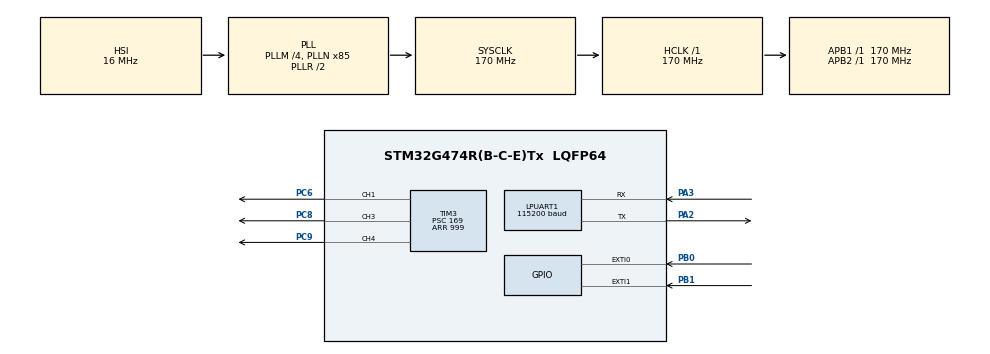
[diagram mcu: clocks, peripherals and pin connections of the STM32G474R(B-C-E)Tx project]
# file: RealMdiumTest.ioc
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LPUART1.BaudRate=115200
Mcu.Family=STM32G4
Mcu.Name=STM32G474R(B-C-E)Tx
Mcu.Package=LQFP64
NVIC.EXTI0_IRQn=true\:0\:0\:false\:false\:true\:true\:true\:true
NVIC.EXTI1_IRQn=true\:0\:0\:false\:false\:true\:true\:true\:true
NVIC.LPUART1_IRQn=true\:0\:0\:false\:false\:true\:true\:true\:true
NVIC.PriorityGroup=NVIC_PRIORITYGROUP_4
PA13.GPIO_Label=T_SWDIO
PA13.Signal=SYS_JTMS-SWDIO
PA14.GPIO_Label=T_SWCLK
PA14.Signal=SYS_JTCK-SWCLK
PA2.Mode=Asynchronous
PA2.Signal=LPUART1_TX
PA3.Mode=Asynchronous
PA3.Signal=LPUART1_RX
PB0.GPIO_PuPd=GPIO_PULLUP
PB0.Signal=GPXTI0
PB1.GPIO_PuPd=GPIO_PULLUP
PB1.Signal=GPXTI1
PB3.GPIO_Label=T_SWO
PB3.Signal=SYS_JTDO-SWO
PC14-OSC32_IN.GPIO_Label=RCC_OSC32_IN
PC14-OSC32_IN.Signal=RCC_OSC32_IN
PC15-OSC32_OUT.GPIO_Label=RCC_OSC32_OUT
PC15-OSC32_OUT.Signal=RCC_OSC32_OUT
PC6.Signal=S_TIM3_CH1
PC8.Signal=S_TIM3_CH3
PC9.Signal=S_TIM3_CH4
PF0-OSC_IN.GPIO_Label=RCC_OSC_IN
PF0-OSC_IN.Signal=RCC_OSC_IN
PF1-OSC_OUT.GPIO_Label=RCC_OSC_OUT
PF1-OSC_OUT.Signal=RCC_OSC_OUT
ProjectManager.HeapSize=0x200
ProjectManager.StackSize=0x400
ProjectManager.TargetToolchain=STM32CubeIDE
RCC.ADC12Freq_Value=170000000
RCC.ADC345Freq_Value=170000000
RCC.AHBFreq_Value=170000000
RCC.APB1Freq_Value=170000000
RCC.APB1TimFreq_Value=170000000
RCC.APB2Freq_Value=170000000
RCC.APB2TimFreq_Value=170000000
RCC.CortexFreq_Value=170000000
RCC.EXTERNAL_CLOCK_VALUE=12288000
RCC.HCLKFreq_Value=170000000
RCC.HSE_VALUE=24000000
RCC.HSI48_VALUE=48000000
RCC.HSI_VALUE=16000000
RCC.LSE_VALUE=32768
RCC.PLLM=RCC_PLLM_DIV4
RCC.PLLN=85
RCC.RTCClockSelection=RCC_RTCCLKSOURCE_LSE
RCC.SYSCLKFreq_VALUE=170000000
RCC.SYSCLKSource=RCC_SYSCLKSOURCE_PLLCLK
RCC.USBFreq_Value=170000000
RCC.VCOOutputFreq_Value=340000000
SH.S_TIM3_CH1.0=TIM3_CH1,PWM Generation1 CH1
SH.S_TIM3_CH3.0=TIM3_CH3,PWM Generation3 CH3
SH.S_TIM3_CH4.0=TIM3_CH4,PWM Generation4 CH4
TIM3.Channel-PWM\ Generation1\ CH1=TIM_CHANNEL_1
TIM3.Channel-PWM\ Generation3\ CH3=TIM_CHANNEL_3
TIM3.Channel-PWM\ Generation4\ CH4=TIM_CHANNEL_4
TIM3.PeriodNoDither=999
TIM3.Prescaler=169
VP_SYS_VS_DBSignals.Mode=DisableDeadBatterySignals
VP_TIM3_VS_ClockSourceINT.Mode=Internal
board=NUCLEO-G474RE

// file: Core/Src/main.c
/* USER CODE BEGIN Header */
/**
  ******************************************************************************
  * @file           : main.c
  * @brief          : TypeRush STM32G474RE Main Program
  ******************************************************************************
  * Copyright (c) 2026 STMicroelectronics.
  * All rights reserved.
  ******************************************************************************
  */
/* USER CODE END Header */

#include "main.h"

/* USER CODE BEGIN Includes */
#include <string.h>
/* USER CODE END Includes */

/* USER CODE BEGIN PD */

/* TIM3: PSC=169, ARR=999, PWM=1kHz (170MHz clock) */
#define TR_PWM_MAX          999
#define TR_BREATH_MS        10
#define TR_BREATH_STEP      10
#define TR_FLASH_HALF_MS   80
#define TR_DEBOUNCE_MS      35
#define TR_UART_LINE_MAX   48
#define TR_UART_QUIET_MS    5

/* USER CODE END PD */

UART_HandleTypeDef hlpuart1;
TIM_HandleTypeDef htim3;

/* USER CODE BEGIN PV */

/* 0 = Idle, 1 = Game running */
static uint8_t tr_running = 0;

/* 0 = Green, 1 = Yellow, 2 = Red */
static uint8_t tr_color = 0;

/* PWM breathing */
static uint16_t tr_brightness = 0;
static uint8_t tr_brightness_up = 1;
static uint32_t tr_breath_tick = 0;

/* Correct answer flash */
static uint8_t tr_flash_active = 0;
static uint8_t tr_flash_color = 0;
static uint32_t tr_flash_tick = 0;

/* START and STOP debounce */
static uint8_t tr_start_raw = 0;
static uint8_t tr_start_stable = 0;
static uint8_t tr_stop_raw = 0;
static uint8_t tr_stop_stable = 0;
static uint32_t tr_start_tick = 0;
static uint32_t tr_stop_tick = 0;

/* UART command buffer */
static char tr_uart_line[TR_UART_LINE_MAX];
static uint8_t tr_uart_length = 0;
static uint8_t tr_uart_discard = 0;
static uint32_t tr_uart_last_rx = 0;
static const char *tr_uart_reply = NULL;

/* USER CODE END PV */

void SystemClock_Config(void);
static void MX_GPIO_Init(void);
static void MX_LPUART1_UART_Init(void);
static void MX_TIM3_Init(void);

/* USER CODE BEGIN PFP */
static void TR_SetPWM(uint16_t red, uint16_t yellow, uint16_t green);
static void TR_UpdateLED(uint32_t now);
static void TR_CheckButtons(uint32_t now);
static void TR_ReadUART(uint32_t now);
static void TR_HandleCommand(const char *cmd, uint32_t now);
static void TR_SendReply(uint32_t now);
/* USER CODE END PFP */

/* USER CODE BEGIN 0 */

/* Set the brightness of the three LEDs */
static void TR_SetPWM(uint16_t red, uint16_t yellow, uint16_t green)
{
  if (red > TR_PWM_MAX)
    red = TR_PWM_MAX;

  if (yellow > TR_PWM_MAX)
    yellow = TR_PWM_MAX;

  if (green > TR_PWM_MAX)
    green = TR_PWM_MAX;

  /* PC6 = Red */
  __HAL_TIM_SET_COMPARE(&htim3, TIM_CHANNEL_1, red);

  /* PC9 = Yellow */
  __HAL_TIM_SET_COMPARE(&htim3, TIM_CHANNEL_4, yellow);

  /* PC8 = Green */
  __HAL_TIM_SET_COMPARE(&htim3, TIM_CHANNEL_3, green);
}

/* Update LED breathing and correct-answer flashing */
static void TR_UpdateLED(uint32_t now)
{
  /* Update brightness every 10 ms */
  if ((uint32_t)(now - tr_breath_tick) >= TR_BREATH_MS)
  {
    tr_breath_tick = now;

    if (tr_brightness_up != 0)
    {
      if (tr_brightness + TR_BREATH_STEP >= TR_PWM_MAX)
      {
        tr_brightness = TR_PWM_MAX;
        tr_brightness_up = 0;
      }
      else
      {
        tr_brightness += TR_BREATH_STEP;
      }
    }
    else
    {
      if (tr_brightness <= TR_BREATH_STEP)
      {
        tr_brightness = 0;
        tr_brightness_up = 1;
      }
      else
      {
        tr_brightness -= TR_BREATH_STEP;
      }
    }
  }

  /* Correct answer: flash twice */
  if (tr_flash_active != 0)
  {
    uint32_t elapsed = (uint32_t)(now - tr_flash_tick);

    if (elapsed < 4 * TR_FLASH_HALF_MS)
    {
      uint16_t value =
          ((elapsed / TR_FLASH_HALF_MS) % 2 == 0)
          ? TR_PWM_MAX : 0;

      TR_SetPWM(
          (tr_flash_color == 2) ? value : 0,
          (tr_flash_color == 1) ? value : 0,
          (tr_flash_color == 0) ? value : 0
      );

      return;
    }

    tr_flash_active = 0;
  }

  /* Idle: all three LEDs breathe */
  if (tr_running == 0)
  {
    TR_SetPWM(
        tr_brightness,
        tr_brightness,
        tr_brightness
    );
  }
  else
  {
    /* Running: only selected color breathes */
    TR_SetPWM(
        (tr_color == 2) ? tr_brightness : 0,
        (tr_color == 1) ? tr_brightness : 0,
        (tr_color == 0) ? tr_brightness : 0
    );
  }
}

/* Send a pending UART response */
static void TR_SendReply(uint32_t now)
{
  if (tr_uart_reply != NULL &&
      (uint32_t)(now - tr_uart_last_rx) >= TR_UART_QUIET_MS)
  {
    const char *reply = tr_uart_reply;
    tr_uart_reply = NULL;

    (void)HAL_UART_Transmit(
        &hlpuart1,
        (uint8_t *)reply,
        (uint16_t)strlen(reply),
        100
    );
  }
}

/* Process commands from the website */
static void TR_HandleCommand(const char *cmd, uint32_t now)
{
  /* Connection verification */
  if (strcmp(cmd, "HELLO") == 0 ||
      strcmp(cmd, "PING") == 0)
  {
    tr_uart_reply = "TYPERUSH READY\n";
  }

  /* Start game */
  else if (strcmp(cmd, "RUN") == 0)
  {
    tr_running = 1;
    tr_color = 0;
    tr_flash_active = 0;

    tr_uart_reply = "ACK RUN\n";
  }

  /* Stop game and return to idle */
  else if (strcmp(cmd, "IDLE") == 0 ||
           strcmp(cmd, "STOP") == 0)
  {
    tr_running = 0;
    tr_flash_active = 0;

    tr_uart_reply = "ACK IDLE\n";
  }

  /* Select green LED */
  else if (strcmp(cmd, "LEVEL GREEN") == 0)
  {
    tr_color = 0;
  }

  /* Select yellow LED */
  else if (strcmp(cmd, "LEVEL YELLOW") == 0)
  {
    tr_color = 1;
  }

  /* Select red LED */
  else if (strcmp(cmd, "LEVEL RED") == 0)
  {
    tr_color = 2;
  }

  /* Correct answer: flash green twice */
  else if (tr_running != 0 &&
           strcmp(cmd, "HIT GREEN") == 0)
  {
    tr_flash_color = 0;
    tr_flash_active = 1;
    tr_flash_tick = now;
  }

  /* Correct answer: flash yellow twice */
  else if (tr_running != 0 &&
           strcmp(cmd, "HIT YELLOW") == 0)
  {
    tr_flash_color = 1;
    tr_flash_active = 1;
    tr_flash_tick = now;
  }

  /* Correct answer: flash red twice */
  else if (tr_running != 0 &&
           strcmp(cmd, "HIT RED") == 0)
  {
    tr_flash_color = 2;
    tr_flash_active = 1;
    tr_flash_tick = now;
  }
}

/* Read UART commands using short-timeout polling */
static void TR_ReadUART(uint32_t now)
{
  uint8_t byte = 0;
  uint8_t n;

  for (n = 0; n < 32; n++)
  {
    HAL_StatusTypeDef status;

    status = HAL_UART_Receive(
        &hlpuart1,
        &byte,
        1,
        1
    );

    if (status != HAL_OK)
    {
      if (status == HAL_ERROR)
      {
        __HAL_UART_CLEAR_OREFLAG(&hlpuart1);

        tr_uart_length = 0;
        tr_uart_discard = 1;
      }

      break;
    }

    tr_uart_last_rx = now;

    /* Ignore carriage return */
    if (byte == '\r')
    {
      continue;
    }

    /* Newline means the command is complete */
    if (byte == '\n')
    {
      if (tr_uart_discard == 0 &&
          tr_uart_length > 0)
      {
        tr_uart_line[tr_uart_length] = '\0';

        TR_HandleCommand(tr_uart_line, now);
      }

      tr_uart_length = 0;
      tr_uart_discard = 0;
    }
    else if (tr_uart_discard == 0)
    {
      if (tr_uart_length < TR_UART_LINE_MAX - 1)
      {
        tr_uart_line[tr_uart_length] = (char)byte;
        tr_uart_length++;
      }
      else
      {
        tr_uart_discard = 1;
        tr_uart_length = 0;
      }
    }
  }
}

/* Detect START and STOP buttons */
static void TR_CheckButtons(uint32_t now)
{
  uint8_t start_pressed;
  uint8_t stop_pressed;

  start_pressed =
      (HAL_GPIO_ReadPin(GPIOB, GPIO_PIN_0) == GPIO_PIN_RESET)
      ? 1 : 0;

  stop_pressed =
      (HAL_GPIO_ReadPin(GPIOB, GPIO_PIN_1) == GPIO_PIN_RESET)
      ? 1 : 0;

  /* START button debounce */
  if (start_pressed != tr_start_raw)
  {
    tr_start_raw = start_pressed;
    tr_start_tick = now;
  }

  if (start_pressed != tr_start_stable &&
      (uint32_t)(now - tr_start_tick) >= TR_DEBOUNCE_MS)
  {
    tr_start_stable = start_pressed;

    if (start_pressed != 0 && tr_running == 0)
    {
      tr_uart_reply = "EVT START\n";
    }
  }

  /* STOP button debounce */
  if (stop_pressed != tr_stop_raw)
  {
    tr_stop_raw = stop_pressed;
    tr_stop_tick = now;
  }

  if (stop_pressed != tr_stop_stable &&
      (uint32_t)(now - tr_stop_tick) >= TR_DEBOUNCE_MS)
  {
    tr_stop_stable = stop_pressed;

    if (stop_pressed != 0)
    {
      tr_running = 0;
      tr_flash_active = 0;

      tr_uart_reply = "EVT STOP\n";
    }
  }
}

/* USER CODE END 0 */

int main(void)
{

  /* MCU Configuration */
  HAL_Init();

  /* Configure system clock */
  SystemClock_Config();

  /* Initialize configured peripherals */
  MX_GPIO_Init();
  MX_LPUART1_UART_Init();
  MX_TIM3_Init();

  /* USER CODE BEGIN 2 */

  /* Start red PWM */
  if (HAL_TIM_PWM_Start(&htim3, TIM_CHANNEL_1) != HAL_OK)
  {
    Error_Handler();
  }

  /* Start green PWM */
  if (HAL_TIM_PWM_Start(&htim3, TIM_CHANNEL_3) != HAL_OK)
  {
    Error_Handler();
  }

  /* Start yellow PWM */
  if (HAL_TIM_PWM_Start(&htim3, TIM_CHANNEL_4) != HAL_OK)
  {
    Error_Handler();
  }

  tr_breath_tick = HAL_GetTick();
  tr_uart_last_rx = tr_breath_tick;

  TR_SetPWM(0, 0, 0);

  /* Startup UART message */
  tr_uart_reply = "TYPERUSH READY\n";

  /* USER CODE END 2 */

  /* Infinite loop */
  while (1)
  {

    /* USER CODE BEGIN 3 */

    uint32_t now = HAL_GetTick();

    TR_ReadUART(now);
    TR_CheckButtons(now);
    TR_UpdateLED(now);
    TR_SendReply(now);

  }
  /* USER CODE END 3 */
}

void SystemClock_Config(void)
{
  RCC_OscInitTypeDef RCC_OscInitStruct = {0};
  RCC_ClkInitTypeDef RCC_ClkInitStruct = {0};

  HAL_PWREx_ControlVoltageScaling(
      PWR_REGULATOR_VOLTAGE_SCALE1_BOOST
  );

  RCC_OscInitStruct.OscillatorType = RCC_OSCILLATORTYPE_HSI;
  RCC_OscInitStruct.HSIState = RCC_HSI_ON;
  RCC_OscInitStruct.HSICalibrationValue =
      RCC_HSICALIBRATION_DEFAULT;

  RCC_OscInitStruct.PLL.PLLState = RCC_PLL_ON;
  RCC_OscInitStruct.PLL.PLLSource = RCC_PLLSOURCE_HSI;
  RCC_OscInitStruct.PLL.PLLM = RCC_PLLM_DIV4;
  RCC_OscInitStruct.PLL.PLLN = 85;
  RCC_OscInitStruct.PLL.PLLP = RCC_PLLP_DIV2;
  RCC_OscInitStruct.PLL.PLLQ = RCC_PLLQ_DIV2;
  RCC_OscInitStruct.PLL.PLLR = RCC_PLLR_DIV2;

  if (HAL_RCC_OscConfig(&RCC_OscInitStruct) != HAL_OK)
  {
    Error_Handler();
  }

  RCC_ClkInitStruct.ClockType =
      RCC_CLOCKTYPE_HCLK |
      RCC_CLOCKTYPE_SYSCLK |
      RCC_CLOCKTYPE_PCLK1 |
      RCC_CLOCKTYPE_PCLK2;

  RCC_ClkInitStruct.SYSCLKSource =
      RCC_SYSCLKSOURCE_PLLCLK;

  RCC_ClkInitStruct.AHBCLKDivider = RCC_SYSCLK_DIV1;
  RCC_ClkInitStruct.APB1CLKDivider = RCC_HCLK_DIV1;
  RCC_ClkInitStruct.APB2CLKDivider = RCC_HCLK_DIV1;

  if (HAL_RCC_ClockConfig(
          &RCC_ClkInitStruct,
          FLASH_LATENCY_4
      ) != HAL_OK)
  {
    Error_Handler();
  }
}

static void MX_LPUART1_UART_Init(void)
{

  hlpuart1.Instance = LPUART1;
  hlpuart1.Init.BaudRate = 115200;
  hlpuart1.Init.WordLength = UART_WORDLENGTH_8B;
  hlpuart1.Init.StopBits = UART_STOPBITS_1;
  hlpuart1.Init.Parity = UART_PARITY_NONE;
  hlpuart1.Init.Mode = UART_MODE_TX_RX;
  hlpuart1.Init.HwFlowCtl = UART_HWCONTROL_NONE;

  hlpuart1.Init.OneBitSampling =
      UART_ONE_BIT_SAMPLE_DISABLE;

  hlpuart1.Init.ClockPrescaler =
      UART_PRESCALER_DIV1;

  hlpuart1.AdvancedInit.AdvFeatureInit =
      UART_ADVFEATURE_NO_INIT;

  if (HAL_UART_Init(&hlpuart1) != HAL_OK)
  {
    Error_Handler();
  }

  if (HAL_UARTEx_SetTxFifoThreshold(
          &hlpuart1,
          UART_TXFIFO_THRESHOLD_1_8
      ) != HAL_OK)
  {
    Error_Handler();
  }

  if (HAL_UARTEx_SetRxFifoThreshold(
          &hlpuart1,
          UART_RXFIFO_THRESHOLD_1_8
      ) != HAL_OK)
  {
    Error_Handler();
  }

  if (HAL_UARTEx_DisableFifoMode(&hlpuart1) != HAL_OK)
  {
    Error_Handler();
  }

}

static void MX_TIM3_Init(void)
{

  TIM_ClockConfigTypeDef sClockSourceConfig = {0};
  TIM_MasterConfigTypeDef sMasterConfig = {0};
  TIM_OC_InitTypeDef sConfigOC = {0};

  htim3.Instance = TIM3;
  htim3.Init.Prescaler = 169;
  htim3.Init.CounterMode = TIM_COUNTERMODE_UP;
  htim3.Init.Period = 999;
  htim3.Init.ClockDivision = TIM_CLOCKDIVISION_DIV1;

  htim3.Init.AutoReloadPreload =
      TIM_AUTORELOAD_PRELOAD_DISABLE;

  if (HAL_TIM_Base_Init(&htim3) != HAL_OK)
  {
    Error_Handler();
  }

  sClockSourceConfig.ClockSource = TIM_CLOCKSOURCE_INTERNAL;

  if (HAL_TIM_ConfigClockSource(
          &htim3,
          &sClockSourceConfig
      ) != HAL_OK)
  {
    Error_Handler();
  }

  if (HAL_TIM_PWM_Init(&htim3) != HAL_OK)
  {
    Error_Handler();
  }

  sMasterConfig.MasterOutputTrigger = TIM_TRGO_RESET;

  sMasterConfig.MasterSlaveMode =
      TIM_MASTERSLAVEMODE_DISABLE;

  if (HAL_TIMEx_MasterConfigSynchronization(
          &htim3,
          &sMasterConfig
      ) != HAL_OK)
  {
    Error_Handler();
  }

  sConfigOC.OCMode = TIM_OCMODE_PWM1;
  sConfigOC.Pulse = 0;
  sConfigOC.OCPolarity = TIM_OCPOLARITY_HIGH;
  sConfigOC.OCFastMode = TIM_OCFAST_DISABLE;

  /* Red LED - PC6 */
  if (HAL_TIM_PWM_ConfigChannel(
          &htim3,
          &sConfigOC,
          TIM_CHANNEL_1
      ) != HAL_OK)
  {
    Error_Handler();
  }

  /* Green LED - PC8 */
  if (HAL_TIM_PWM_ConfigChannel(
          &htim3,
          &sConfigOC,
          TIM_CHANNEL_3
      ) != HAL_OK)
  {
    Error_Handler();
  }

  /* Yellow LED - PC9 */
  if (HAL_TIM_PWM_ConfigChannel(
          &htim3,
          &sConfigOC,
          TIM_CHANNEL_4
      ) != HAL_OK)
  {
    Error_Handler();
  }

  HAL_TIM_MspPostInit(&htim3);
}

static void MX_GPIO_Init(void)
{
  GPIO_InitTypeDef GPIO_InitStruct = {0};

  /* GPIO Ports Clock Enable */
  __HAL_RCC_GPIOC_CLK_ENABLE();
  __HAL_RCC_GPIOF_CLK_ENABLE();
  __HAL_RCC_GPIOA_CLK_ENABLE();
  __HAL_RCC_GPIOB_CLK_ENABLE();

  /* Configure START PB0 and STOP PB1 */
  GPIO_InitStruct.Pin = GPIO_PIN_0 | GPIO_PIN_1;

  /* Falling edge: button connected to GND */
  GPIO_InitStruct.Mode = GPIO_MODE_IT_FALLING;

  /* Internal pull-up */
  GPIO_InitStruct.Pull = GPIO_PULLUP;

  HAL_GPIO_Init(GPIOB, &GPIO_InitStruct);

  /* EXTI0 interrupt */
  HAL_NVIC_SetPriority(EXTI0_IRQn, 2, 0);
  HAL_NVIC_EnableIRQ(EXTI0_IRQn);

  /* EXTI1 interrupt */
  HAL_NVIC_SetPriority(EXTI1_IRQn, 2, 0);
  HAL_NVIC_EnableIRQ(EXTI1_IRQn);

}

/**
  * @brief Error Handler
  * @retval None
  */
void Error_Handler(void)
{
  __disable_irq();
  while (1)
  {
  }
}
